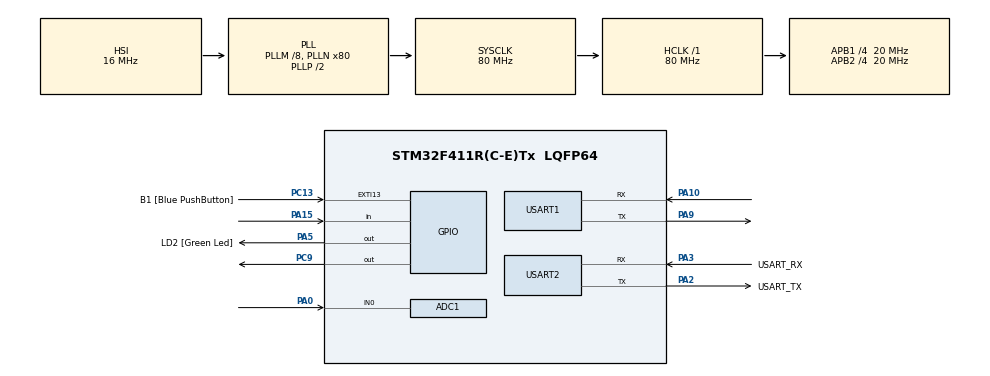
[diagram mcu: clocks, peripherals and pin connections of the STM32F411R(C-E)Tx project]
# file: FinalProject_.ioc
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ADC1.Channel-0\#ChannelRegularConversion=ADC_CHANNEL_0
ADC1.ClockPrescaler=ADC_CLOCK_SYNC_PCLK_DIV8
ADC1.ContinuousConvMode=ENABLE
ADC1.EOCSelection=ADC_EOC_SEQ_CONV
ADC1.InjNumberOfConversion=0
ADC1.NbrOfConversion=1
ADC1.NbrOfConversionFlag=1
ADC1.Rank-0\#ChannelRegularConversion=1
ADC1.Resolution=ADC_RESOLUTION_10B
ADC1.SamplingTime-0\#ChannelRegularConversion=ADC_SAMPLETIME_3CYCLES
ADC1.ScanConvMode=ENABLE
ADC1.master=1
Mcu.Family=STM32F4
Mcu.Name=STM32F411R(C-E)Tx
Mcu.Package=LQFP64
NVIC.ADC_IRQn=true\:0\:0\:false\:false\:true\:true\:true
NVIC.PriorityGroup=NVIC_PRIORITYGROUP_0
NVIC.TIM1_UP_TIM10_IRQn=true\:0\:0\:false\:false\:true\:true\:true
NVIC.TIM3_IRQn=true\:0\:0\:false\:false\:true\:true\:true
NVIC.USART2_IRQn=true\:0\:0\:false\:false\:true\:true\:true
PA0-WKUP.Signal=ADCx_IN0
PA10.Mode=Asynchronous
PA10.Signal=USART1_RX
PA13.GPIO_Label=TMS
PA13.Mode=Serial_Wire
PA13.Signal=SYS_JTMS-SWDIO
PA14.GPIO_Label=TCK
PA14.Mode=Serial_Wire
PA14.Signal=SYS_JTCK-SWCLK
PA15.Signal=GPIO_Input
PA2.GPIO_Label=USART_TX
PA2.Mode=Asynchronous
PA2.Signal=USART2_TX
PA3.GPIO_Label=USART_RX
PA3.Mode=Asynchronous
PA3.Signal=USART2_RX
PA5.GPIO_Label=LD2 [Green Led]
PA5.GPIO_ModeDefaultOutputPP=GPIO_MODE_OUTPUT_OD
PA5.GPIO_PuPd=GPIO_PULLUP
PA5.Signal=GPIO_Output
PA9.Mode=Asynchronous
PA9.Signal=USART1_TX
PB3.GPIO_Label=SWO
PB3.Signal=SYS_JTDO-SWO
PC13-ANTI_TAMP.GPIO_Label=B1 [Blue PushButton]
PC13-ANTI_TAMP.GPIO_ModeDefaultEXTI=GPIO_MODE_IT_FALLING
PC13-ANTI_TAMP.Signal=GPXTI13
PC14-OSC32_IN.Mode=LSE-External-Oscillator
PC14-OSC32_IN.Signal=RCC_OSC32_IN
PC15-OSC32_OUT.Mode=LSE-External-Oscillator
PC15-OSC32_OUT.Signal=RCC_OSC32_OUT
PC9.GPIO_ModeDefaultOutputPP=GPIO_MODE_OUTPUT_OD
PC9.GPIO_PuPd=GPIO_PULLUP
PC9.PinState=GPIO_PIN_SET
PC9.Signal=GPIO_Output
PH0\ -\ OSC_IN.Mode=HSE-External-Clock-Source
PH0\ -\ OSC_IN.Signal=RCC_OSC_IN
PH1\ -\ OSC_OUT.Mode=HSE-External-Clock-Source
PH1\ -\ OSC_OUT.Signal=RCC_OSC_OUT
ProjectManager.HeapSize=0x200
ProjectManager.StackSize=0x400
ProjectManager.TargetToolchain=STM32CubeIDE
RCC.48MHZClocksFreq_Value=40000000
RCC.AHBFreq_Value=80000000
RCC.APB1CLKDivider=RCC_HCLK_DIV4
RCC.APB1Freq_Value=20000000
RCC.APB1TimFreq_Value=40000000
RCC.APB2CLKDivider=RCC_HCLK_DIV4
RCC.APB2Freq_Value=20000000
RCC.APB2TimFreq_Value=40000000
RCC.CortexFreq_Value=80000000
RCC.FLatency-AdvancedSettings=FLASH_LATENCY_2
RCC.HCLKFreq_Value=80000000
RCC.HSE_VALUE=8000000
RCC.HSI_VALUE=16000000
RCC.PLLM=8
RCC.PLLN=80
RCC.SYSCLKFreq_VALUE=80000000
RCC.SYSCLKSource=RCC_SYSCLKSOURCE_PLLCLK
RCC.VCOOutputFreq_Value=160000000
SH.ADCx_IN0.0=ADC1_IN0,IN0
TIM1.Prescaler=40000 - 1
TIM3.Period=1000
TIM3.Prescaler=40000 - 1
USART1.VirtualMode=VM_ASYNC
USART2.VirtualMode=VM_ASYNC
VP_TIM1_VS_ClockSourceINT.Mode=Internal
VP_TIM3_VS_ClockSourceINT.Mode=Internal
board=NUCLEO-F411RE

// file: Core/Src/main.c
/* USER CODE BEGIN Header */
/**
  ******************************************************************************
  * @file           : main.c
  * @brief          : Main program body
  ******************************************************************************
  * @attention
  *
  * <h2><center>&copy; Copyright (c) 2020 STMicroelectronics.
  * All rights reserved.</center></h2>
  *
  * This software component is licensed by ST under BSD 3-Clause license,
  * the "License"; You may not use this file except in compliance with the
  * License. You may obtain a copy of the License at:
  *                        opensource.org/licenses/BSD-3-Clause
  *
  ******************************************************************************
  */
/* USER CODE END Header */
#include "main.h"

/* USER CODE BEGIN Includes */
#include "DHT.h"
#include <math.h>
/* USER CODE END Includes */

/* USER CODE BEGIN PTD */
DHT_DataTypedef DHT11_Data;
float T1 , T2 , H1 , H2;
/* USER CODE END PTD */

/* USER CODE BEGIN PD */

#define RELAY_ON 1
#define RELAY_OFF 0
#define RELAY_GPIO GPIOA
#define RELAY_PIN GPIO_PIN_5

#define LED_WHITE 2
#define LED_NORMAL 1
#define LED_WATERING 0

#define FAN_ON 1
#define FAN_OFF 0
#define e 2.718281828459

#define FAN_GPIO GPIOC
#define FAN_PIN GPIO_PIN_9
/* USER CODE END PD */

ADC_HandleTypeDef hadc1;

TIM_HandleTypeDef htim1;
TIM_HandleTypeDef htim3;

UART_HandleTypeDef huart1;
UART_HandleTypeDef huart2;

void SystemClock_Config(void);
static void MX_GPIO_Init(void);
static void MX_USART2_UART_Init(void);
static void MX_ADC1_Init(void);
static void MX_TIM1_Init(void);
static void MX_USART1_UART_Init(void);
static void MX_TIM3_Init(void);

/* USER CODE BEGIN 0 */
char serialOutBuffer[200]; // From temp code

char rxData[20];

uint8_t forceRelayOn_FLAG = 0;
uint8_t autoWatering_FLAG = 1;
uint8_t debugMode_FLAG = 0;
uint8_t lightOn_FLAG = 1;

void setLed(uint8_t lightingState) { // 1 == normal , 0 == watering
	if (!lightOn_FLAG) {
		// Lighting mode 'c'
		char x = 'c';
		HAL_UART_Transmit(&huart1,&x,1,100);
		return;
	}
	if (lightingState == LED_NORMAL) {
		// Lighting mode 'a'
		char x = 'a';
		HAL_UART_Transmit(&huart1,&x,1,100);
	}
	else if (lightingState == LED_WATERING) {
		// Lighting mode 'b'
		char x = 'b';
		HAL_UART_Transmit(&huart1,&x,1,100);
	}
	else {
		// Lighting mode 'c' -> white light
		char x = 'c';
		HAL_UART_Transmit(&huart1,&x,1,100);
	}
}

void setRelay(uint8_t relayState) {
	if (forceRelayOn_FLAG) {
		setLed(LED_NORMAL);
		HAL_GPIO_WritePin(RELAY_GPIO, RELAY_PIN, GPIO_PIN_SET);
		return;
	}
	if (autoWatering_FLAG) {
		if (relayState == RELAY_ON) {
			setLed(LED_WATERING);
			HAL_GPIO_WritePin(RELAY_GPIO, RELAY_PIN, GPIO_PIN_SET); // Lighting mode 'b'
		}
		else {
			setLed(LED_NORMAL);
			HAL_GPIO_WritePin(RELAY_GPIO, RELAY_PIN, GPIO_PIN_RESET); // Lighting mode 'a'
		}
	}
	else {
		setLed(LED_NORMAL);
		HAL_GPIO_WritePin(RELAY_GPIO, RELAY_PIN, GPIO_PIN_RESET); // Lighting mode 'a'
	}
}

double dp = 0;
double alpha = 0.9;
uint16_t timer_last_Dry;
uint16_t timer_StartRelay = 0;
uint8_t relayFlag = 0;
uint16_t PumpWorkingTime = 10000;
uint16_t lastProcessTime = 0;
void adcCallback(){

	if (__HAL_TIM_GET_COUNTER(&htim1) - lastProcessTime < 200) { // IRQ block other codes thus 100ms delay for each execute
		return;
	}
	lastProcessTime = __HAL_TIM_GET_COUNTER(&htim1);
	if (relayFlag){ // && __HAL_TIM_GET_COUNTER(&htim1) - timer_StartRelay < PumpWorkingTime) {
		//HAL_GPIO_WritePin(GPIOA, GPIO_PIN_5, GPIO_PIN_SET);
		setRelay(RELAY_ON);
	}
	else {
		relayFlag = 0;
		//HAL_GPIO_WritePin(GPIOA, GPIO_PIN_5, GPIO_PIN_RESET);
		setRelay(RELAY_OFF);
	}

	uint32_t readValue = HAL_ADC_GetValue(&hadc1);

	// Some Dynamic Programming
	// f(n) = alpha* f(n-1) + nowValue * (1 - alpha);
	double smoothValue = dp * alpha + readValue * (1 - alpha);
	dp = smoothValue;
	//
	if (debugMode_FLAG){
		char out[50];
		for (int i = 0 ; i< 50 ; i++) out[i] = 0;

		sprintf(out,"Raw : %d",readValue);
		HAL_UART_Transmit(&huart2,(uint32_t *) out,50,100);

		sprintf(out," Smooth: %d\n\r",(int) smoothValue);
		HAL_UART_Transmit(&huart2,(uint32_t *) out,50,100);
	}

	// Mode 1 Force Pump to turn ON
	// Mode 2 Water when Moisure Value less than xxx  until yyy value
	// if 500 < val < 900 for 5 second .. Trigger pump until val < 300
	// Mode 3 Force pump to turn off
	// Make sure that measure value not A noise
	if (!relayFlag && ! (smoothValue > 500 && smoothValue < 900)) {
		timer_last_Dry = __HAL_TIM_GET_COUNTER(&htim1);
		relayFlag = 0;
	}
	else if (relayFlag && ! (smoothValue > 300 && smoothValue < 900)){
		timer_last_Dry = __HAL_TIM_GET_COUNTER(&htim1);
		relayFlag = 0;
	}
	else {
		// Dry Case
		uint16_t escapeTime = __HAL_TIM_GET_COUNTER(&htim1) - timer_last_Dry;
		// 1 timer tick = 0.001 second
		if (escapeTime > 5000) {// (5 Second) / (0.001 Second/Tick)
			relayFlag = 1;
			timer_StartRelay = __HAL_TIM_GET_COUNTER(&htim1);
		}
	}

}

// -----------------------  END PUMP-SOIL SYSTEM ---------------------------------------
// -----------------------  END PUMP-SOIL SYSTEM ---------------------------------------
// -----------------------  END PUMP-SOIL SYSTEM ---------------------------------------
// -----------------------  END PUMP-SOIL SYSTEM ---------------------------------------
// -----------------------  END PUMP-SOIL SYSTEM ---------------------------------------
// -----------------------  END PUMP-SOIL SYSTEM ---------------------------------------
// -----------------------  END PUMP-SOIL SYSTEM ---------------------------------------

uint8_t nowFanState = FAN_OFF;

uint64_t timerTick = 0;
void timerIRQcallback() {
//	uint16_t nowTimer =  __HAL_TIM_GET_COUNTER(&htim1);
//	sprintf(serialOutBuffer,"Timer interupted : nowTIme -> %d" , nowTimer);
//	HAL_UART_Transmit(&huart2 , (uint32_t *) serialOutBuffer , 200 , 100 );
	timerTick++;

}

uint64_t getTickTimer1() {
	return (timerTick - 1) * 65536 + (uint64_t) __HAL_TIM_GET_COUNTER(&htim1);
}

uint64_t getTimer1Second() {
	return getTickTimer1() / 1000;
}

uint8_t fanState = FAN_OFF;
uint64_t lastFanOffTimeSecond = 0;
uint64_t lastFanOnTimeSecond = 0;

uint8_t switchToOn() {
	double triggerOnProbs = 1;
	uint64_t timediff = getTimer1Second() - lastFanOffTimeSecond;
	timediff = timediff > 300 ? 300 : timediff;
	float timeFromLastOff = timediff; // Second Max = 300 ??

	float insideRHNow = H2;
	float outsideRHNow = H1;
	float diffNowRH = insideRHNow - outsideRHNow;

	double probDiffNowRh = (double) (1 / (1 + pow(e, - 0.34 * diffNowRH + 1)) );
	double probTimeFromLastOff = (double) (1 / (1 + pow(e, - 0.1 * timeFromLastOff + 1)) );
	double probInsideRh = (double) (1 / (1 + pow(e, - 0.34 * (insideRHNow - 60) + 1)) );

	triggerOnProbs = probDiffNowRh * probTimeFromLastOff * probInsideRh;
	return triggerOnProbs > 0.6;
}

uint8_t switchToOff() {
	double triggerOffProbs = 1;
	uint64_t timediff = getTimer1Second() - lastFanOnTimeSecond;
	timediff = timediff > 300 ? 300 : timediff;
	float timeFromLastOn = timediff; // Second Max = 300 ??

	float insideRHNow = H2;
	float outsideRHNow = H1;
	float diffNowRH = insideRHNow - outsideRHNow;

	double probDiffNowRh = (double) (1 / (1 + pow(e, - 0.3 * diffNowRH + 0.3)) );

	double probTimeFromLastOff = (double) (1 / (1 + pow(e, - 0.2 * timeFromLastOn + 10)) );
	probTimeFromLastOff = 1 - probTimeFromLastOff;

	double probInsideRh = (double) (1 / (1 + pow(e, - 0.4 * (insideRHNow - 45) + 3.5)) );

	triggerOffProbs = probDiffNowRh * probTimeFromLastOff * probInsideRh;
	return triggerOffProbs < 0.5;
}

void setFan(uint8_t targetFanState) {
	if (targetFanState == nowFanState) return;

}

void fanControlLoop() {
//	float insideRH = 50;
//	float outsideRH = 60;
//	uint64_t timeInSecond = getTimer1Second();

	switch (fanState) {
		case FAN_ON :
			state_FanOn();
			break;
		case FAN_OFF :
			state_FanOff();
			break;
		default :
			break;
	}

}

void state_FanOn() {
	if (switchToOff() > 0) {
		lastFanOffTimeSecond = getTimer1Second();
		fanState = FAN_OFF;
		return;
	}

	  sprintf(serialOutBuffer,"FAN ON                                                                                                     \n" );
	  HAL_UART_Transmit(&huart2 , (uint32_t *) serialOutBuffer , 200 , 100 );
	  HAL_GPIO_WritePin(FAN_GPIO, FAN_PIN, GPIO_PIN_RESET);

}

void state_FanOff() {
	if (switchToOn() > 0) {
		lastFanOnTimeSecond = getTimer1Second();
		fanState = FAN_ON;
		return;
	}
	  sprintf(serialOutBuffer,"FAN OFF                                                                                                      \n" );
	  HAL_UART_Transmit(&huart2 , (uint32_t *) serialOutBuffer , 200 , 100 );
	  HAL_GPIO_WritePin(FAN_GPIO, FAN_PIN, GPIO_PIN_SET);
}

void fanSystemHandle() {
	  setDhtPin(GPIO_PIN_15);
	  DHT_GetData(&DHT11_Data);
	  T1 = DHT11_Data.Temperature;
	  H1 = DHT11_Data.Humidity;
	  //sprintf(serialOutBuffer,"Sensor 1 : Temperature : %.2f C , Humidity : %.2f %% \n",Temperature ,Humidity );
	  //HAL_UART_Transmit(&huart2 , (uint32_t *) serialOutBuffer , 100 , 100 );
	  HAL_Delay(100);
//	  delay(100000);
	  int i = 20;
	  setDhtPin(GPIO_PIN_12);
	  DHT_GetData(&DHT11_Data);
	  T2 = DHT11_Data.Temperature;
	  H2 = DHT11_Data.Humidity + 4; // Shift up 4 %
	  int x = 30;
	  //sprintf(serialOutBuffer,"Sensor 2 : Temperature : %.2f C , Humidity : %.2f %% \n",Temperature ,Humidity );
	  sprintf(serialOutBuffer,"Sensor 1 : Temperature : %.2f C , Humidity : %.2f %%    Sensor 2 : Temperature : %.2f C , Humidity : %.2f %% \n",T1 ,H1 , T2 , H2 );
	  HAL_UART_Transmit(&huart2 , (uint32_t *) serialOutBuffer , 200 , 100 );
	  fanControlLoop();
}

// -----------------------  END HUMUDITY-FAN SYSTEM ------------------------------------

void HAL_UART_RxCpltCallback(UART_HandleTypeDef *huart){
	//if (rxData[0] == '1') debugMode_FLAG = 1;
	//else if (rxData[0] == '0') debugMode_FLAG = 0;
	char out[150];
	for (int i = 0 ; i < 150 ; i++) out[i] = 0;
	switch (rxData[0] - 'a') {
		case 0:
			forceRelayOn_FLAG = 1;
			break;
		case 1:
			forceRelayOn_FLAG = 0;
			break;
		case 2:
			autoWatering_FLAG = 1;
			break;
		case 3:
			autoWatering_FLAG = 0;
			break;
		case 4:
			debugMode_FLAG = 1;
			break;
		case 5:
			debugMode_FLAG = 0;
			break;
		case 6:
			lightOn_FLAG = 1;
			break;
		case 7:
			lightOn_FLAG = 0;
			break;
		default :
			break;
	}
	sprintf(out,"--------Information---------\n\rforcePumpOn (a,b) : %d\n\rautoWatering (c,d) : %d\n\rdebugMode_FLAG (e,f): %d\n\rlightOn (g,h) : %d\n\r",
			(int) forceRelayOn_FLAG,
			(int) autoWatering_FLAG,
			(int) debugMode_FLAG ,
			(int) lightOn_FLAG
			);
	HAL_UART_Transmit(&huart2,(uint32_t *) out,150,200);
	HAL_UART_Receive_IT(&huart2, rxData, 10);
}
/* USER CODE END 0 */

int main(void)
{

  /* MCU Configuration--------------------------------------------------------*/

  /* Reset of all peripherals, Initializes the Flash interface and the Systick. */
  HAL_Init();

  /* Configure the system clock */
  SystemClock_Config();

  /* Initialize all configured peripherals */
  MX_GPIO_Init();
  MX_USART2_UART_Init();
  MX_ADC1_Init();
  MX_TIM1_Init();
  MX_USART1_UART_Init();
  MX_TIM3_Init();
  /* USER CODE BEGIN 2 */
  //HAL_ADC_Start(&hadc1);
  HAL_TIM_Base_Start_IT(&htim1);
  HAL_TIM_Base_Start_IT(&htim3);
  HAL_UART_Receive_IT(&huart2, rxData, 10);
  HAL_ADC_Start_IT(&hadc1);
  /* USER CODE END 2 */

  /* Infinite loop */
  while (1)
  {

    /* USER CODE BEGIN 3 */

	  // Stop adc irq
	  HAL_ADC_Stop_IT(&hadc1);
	  fanSystemHandle();
	  HAL_ADC_Start_IT(&hadc1);
	  // send serial here //

	  //

	  HAL_Delay(1000);
	  // start adc irq

  }
  /* USER CODE END 3 */
}

void SystemClock_Config(void)
{
  RCC_OscInitTypeDef RCC_OscInitStruct = {0};
  RCC_ClkInitTypeDef RCC_ClkInitStruct = {0};

  /** Configure the main internal regulator output voltage
  */
  __HAL_RCC_PWR_CLK_ENABLE();
  __HAL_PWR_VOLTAGESCALING_CONFIG(PWR_REGULATOR_VOLTAGE_SCALE1);
  /** Initializes the RCC Oscillators according to the specified parameters
  * in the RCC_OscInitTypeDef structure.
  */
  RCC_OscInitStruct.OscillatorType = RCC_OSCILLATORTYPE_HSI;
  RCC_OscInitStruct.HSIState = RCC_HSI_ON;
  RCC_OscInitStruct.HSICalibrationValue = RCC_HSICALIBRATION_DEFAULT;
  RCC_OscInitStruct.PLL.PLLState = RCC_PLL_ON;
  RCC_OscInitStruct.PLL.PLLSource = RCC_PLLSOURCE_HSI;
  RCC_OscInitStruct.PLL.PLLM = 8;
  RCC_OscInitStruct.PLL.PLLN = 80;
  RCC_OscInitStruct.PLL.PLLP = RCC_PLLP_DIV2;
  RCC_OscInitStruct.PLL.PLLQ = 4;
  if (HAL_RCC_OscConfig(&RCC_OscInitStruct) != HAL_OK)
  {
    Error_Handler();
  }
  /** Initializes the CPU, AHB and APB buses clocks
  */
  RCC_ClkInitStruct.ClockType = RCC_CLOCKTYPE_HCLK|RCC_CLOCKTYPE_SYSCLK
                              |RCC_CLOCKTYPE_PCLK1|RCC_CLOCKTYPE_PCLK2;
  RCC_ClkInitStruct.SYSCLKSource = RCC_SYSCLKSOURCE_PLLCLK;
  RCC_ClkInitStruct.AHBCLKDivider = RCC_SYSCLK_DIV1;
  RCC_ClkInitStruct.APB1CLKDivider = RCC_HCLK_DIV4;
  RCC_ClkInitStruct.APB2CLKDivider = RCC_HCLK_DIV4;

  if (HAL_RCC_ClockConfig(&RCC_ClkInitStruct, FLASH_LATENCY_2) != HAL_OK)
  {
    Error_Handler();
  }
}

static void MX_ADC1_Init(void)
{

  ADC_ChannelConfTypeDef sConfig = {0};

  /** Configure the global features of the ADC (Clock, Resolution, Data Alignment and number of conversion)
  */
  hadc1.Instance = ADC1;
  hadc1.Init.ClockPrescaler = ADC_CLOCK_SYNC_PCLK_DIV8;
  hadc1.Init.Resolution = ADC_RESOLUTION_10B;
  hadc1.Init.ScanConvMode = ENABLE;
  hadc1.Init.ContinuousConvMode = ENABLE;
  hadc1.Init.DiscontinuousConvMode = DISABLE;
  hadc1.Init.ExternalTrigConvEdge = ADC_EXTERNALTRIGCONVEDGE_NONE;
  hadc1.Init.ExternalTrigConv = ADC_SOFTWARE_START;
  hadc1.Init.DataAlign = ADC_DATAALIGN_RIGHT;
  hadc1.Init.NbrOfConversion = 1;
  hadc1.Init.DMAContinuousRequests = DISABLE;
  hadc1.Init.EOCSelection = ADC_EOC_SEQ_CONV;
  if (HAL_ADC_Init(&hadc1) != HAL_OK)
  {
    Error_Handler();
  }
  /** Configure for the selected ADC regular channel its corresponding rank in the sequencer and its sample time.
  */
  sConfig.Channel = ADC_CHANNEL_0;
  sConfig.Rank = 1;
  sConfig.SamplingTime = ADC_SAMPLETIME_3CYCLES;
  if (HAL_ADC_ConfigChannel(&hadc1, &sConfig) != HAL_OK)
  {
    Error_Handler();
  }

}

static void MX_TIM1_Init(void)
{

  TIM_ClockConfigTypeDef sClockSourceConfig = {0};
  TIM_MasterConfigTypeDef sMasterConfig = {0};

  htim1.Instance = TIM1;
  htim1.Init.Prescaler = 40000 - 1;
  htim1.Init.CounterMode = TIM_COUNTERMODE_UP;
  htim1.Init.Period = 65535;
  htim1.Init.ClockDivision = TIM_CLOCKDIVISION_DIV1;
  htim1.Init.RepetitionCounter = 0;
  htim1.Init.AutoReloadPreload = TIM_AUTORELOAD_PRELOAD_DISABLE;
  if (HAL_TIM_Base_Init(&htim1) != HAL_OK)
  {
    Error_Handler();
  }
  sClockSourceConfig.ClockSource = TIM_CLOCKSOURCE_INTERNAL;
  if (HAL_TIM_ConfigClockSource(&htim1, &sClockSourceConfig) != HAL_OK)
  {
    Error_Handler();
  }
  sMasterConfig.MasterOutputTrigger = TIM_TRGO_RESET;
  sMasterConfig.MasterSlaveMode = TIM_MASTERSLAVEMODE_DISABLE;
  if (HAL_TIMEx_MasterConfigSynchronization(&htim1, &sMasterConfig) != HAL_OK)
  {
    Error_Handler();
  }

}

static void MX_TIM3_Init(void)
{

  TIM_ClockConfigTypeDef sClockSourceConfig = {0};
  TIM_MasterConfigTypeDef sMasterConfig = {0};

  htim3.Instance = TIM3;
  htim3.Init.Prescaler = 40000 - 1;
  htim3.Init.CounterMode = TIM_COUNTERMODE_UP;
  htim3.Init.Period = 1000;
  htim3.Init.ClockDivision = TIM_CLOCKDIVISION_DIV1;
  htim3.Init.AutoReloadPreload = TIM_AUTORELOAD_PRELOAD_DISABLE;
  if (HAL_TIM_Base_Init(&htim3) != HAL_OK)
  {
    Error_Handler();
  }
  sClockSourceConfig.ClockSource = TIM_CLOCKSOURCE_INTERNAL;
  if (HAL_TIM_ConfigClockSource(&htim3, &sClockSourceConfig) != HAL_OK)
  {
    Error_Handler();
  }
  sMasterConfig.MasterOutputTrigger = TIM_TRGO_RESET;
  sMasterConfig.MasterSlaveMode = TIM_MASTERSLAVEMODE_DISABLE;
  if (HAL_TIMEx_MasterConfigSynchronization(&htim3, &sMasterConfig) != HAL_OK)
  {
    Error_Handler();
  }

}

static void MX_USART1_UART_Init(void)
{

  huart1.Instance = USART1;
  huart1.Init.BaudRate = 115200;
  huart1.Init.WordLength = UART_WORDLENGTH_8B;
  huart1.Init.StopBits = UART_STOPBITS_1;
  huart1.Init.Parity = UART_PARITY_NONE;
  huart1.Init.Mode = UART_MODE_TX_RX;
  huart1.Init.HwFlowCtl = UART_HWCONTROL_NONE;
  huart1.Init.OverSampling = UART_OVERSAMPLING_16;
  if (HAL_UART_Init(&huart1) != HAL_OK)
  {
    Error_Handler();
  }

}

static void MX_USART2_UART_Init(void)
{

  huart2.Instance = USART2;
  huart2.Init.BaudRate = 115200;
  huart2.Init.WordLength = UART_WORDLENGTH_8B;
  huart2.Init.StopBits = UART_STOPBITS_1;
  huart2.Init.Parity = UART_PARITY_NONE;
  huart2.Init.Mode = UART_MODE_TX_RX;
  huart2.Init.HwFlowCtl = UART_HWCONTROL_NONE;
  huart2.Init.OverSampling = UART_OVERSAMPLING_16;
  if (HAL_UART_Init(&huart2) != HAL_OK)
  {
    Error_Handler();
  }

}

static void MX_GPIO_Init(void)
{
  GPIO_InitTypeDef GPIO_InitStruct = {0};

  /* GPIO Ports Clock Enable */
  __HAL_RCC_GPIOC_CLK_ENABLE();
  __HAL_RCC_GPIOH_CLK_ENABLE();
  __HAL_RCC_GPIOA_CLK_ENABLE();
  __HAL_RCC_GPIOB_CLK_ENABLE();

  /*Configure GPIO pin Output Level */
  HAL_GPIO_WritePin(LD2_GPIO_Port, LD2_Pin, GPIO_PIN_RESET);

  /*Configure GPIO pin Output Level */
  HAL_GPIO_WritePin(GPIOC, GPIO_PIN_9, GPIO_PIN_SET);

  /*Configure GPIO pin : B1_Pin */
  GPIO_InitStruct.Pin = B1_Pin;
  GPIO_InitStruct.Mode = GPIO_MODE_IT_FALLING;
  GPIO_InitStruct.Pull = GPIO_NOPULL;
  HAL_GPIO_Init(B1_GPIO_Port, &GPIO_InitStruct);

  /*Configure GPIO pin : LD2_Pin */
  GPIO_InitStruct.Pin = LD2_Pin;
  GPIO_InitStruct.Mode = GPIO_MODE_OUTPUT_OD;
  GPIO_InitStruct.Pull = GPIO_PULLUP;
  GPIO_InitStruct.Speed = GPIO_SPEED_FREQ_LOW;
  HAL_GPIO_Init(LD2_GPIO_Port, &GPIO_InitStruct);

  /*Configure GPIO pin : PC9 */
  GPIO_InitStruct.Pin = GPIO_PIN_9;
  GPIO_InitStruct.Mode = GPIO_MODE_OUTPUT_OD;
  GPIO_InitStruct.Pull = GPIO_PULLUP;
  GPIO_InitStruct.Speed = GPIO_SPEED_FREQ_LOW;
  HAL_GPIO_Init(GPIOC, &GPIO_InitStruct);

  /*Configure GPIO pin : PA15 */
  GPIO_InitStruct.Pin = GPIO_PIN_15;
  GPIO_InitStruct.Mode = GPIO_MODE_INPUT;
  GPIO_InitStruct.Pull = GPIO_NOPULL;
  HAL_GPIO_Init(GPIOA, &GPIO_InitStruct);

}

void Error_Handler(void)
{
}

/************************ (C) COPYRIGHT STMicroelectronics *****END OF FILE****/
